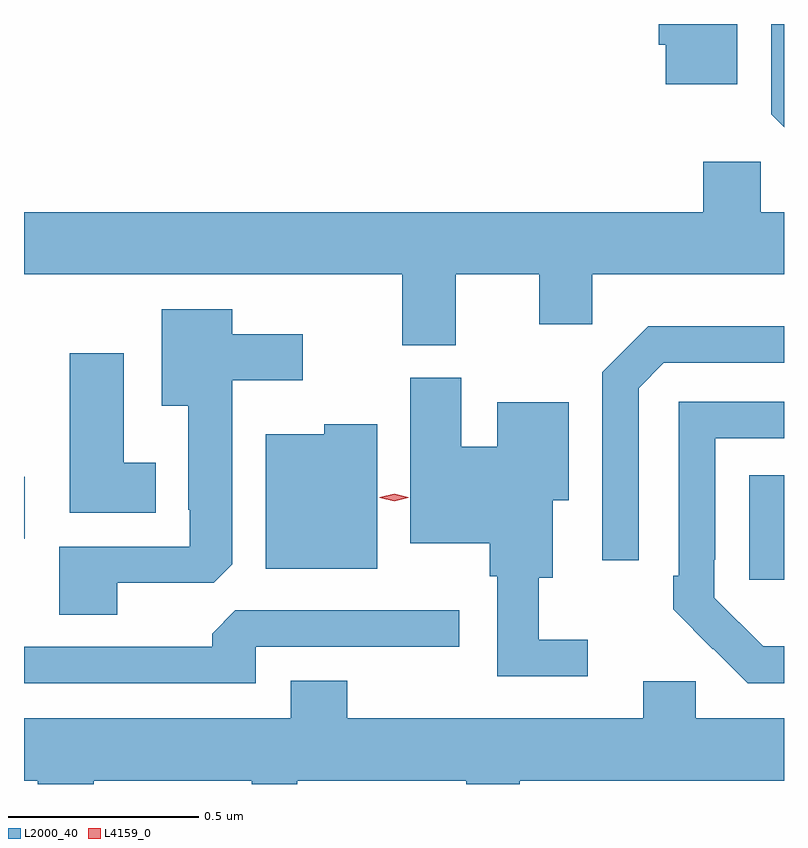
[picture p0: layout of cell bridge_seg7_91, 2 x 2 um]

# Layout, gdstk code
import gdstk
lib = gdstk.Library(unit=1e-6, precision=1e-09)
def R(c, l, rs):  # rectangles x0, y0, x1, y1
    for r in rs: c.add(gdstk.rectangle(r[:2], r[2:], *l))
def P(c, l, *ps):  # polygons
    for p in ps: c.add(gdstk.Polygon(p, *l))
L2000_40 = (2000, 40)
L4159_0 = (4159, 0)

bridge_seg7_91 = lib.new_cell('bridge_seg7_91')
R(bridge_seg7_91, L2000_40, [(1068.005,1011.801,1068.097,1012.075), (1066.097,1011.908,1066.099,1012.071)])
P(bridge_seg7_91, L2000_40, [(1068.097,1013.263),(1068.063,1013.263),(1068.063,1013.025),(1068.097,1012.991)],
  [(1067.974,1013.263),(1067.767,1013.263),(1067.767,1013.209),(1067.786,1013.209),(1067.786,1013.105),(1067.974,1013.105)],
  [(1067.233,1012.604),(1067.453,1012.604),(1067.453,1012.473),(1067.592,1012.473),(1067.592,1012.604),(1068.097,1012.604),(1068.097,1012.768),(1068.036,1012.768),(1068.036,1012.9),(1067.885,1012.9),(1067.885,1012.768),(1066.097,1012.768),(1066.097,1012.604),(1067.093,1012.604),(1067.093,1012.417),(1067.233,1012.417)],
  [(1066.342,1011.792),(1066.596,1011.792),(1066.645,1011.841),(1066.645,1012.325),(1066.831,1012.325),(1066.831,1012.447),(1066.645,1012.447),(1066.645,1012.513),(1066.46,1012.513),(1066.46,1012.259),(1066.529,1012.259),(1066.529,1011.985),(1066.533,1011.985),(1066.533,1011.888),(1066.19,1011.888),(1066.19,1011.709),(1066.342,1011.709)],
  [(1067.715,1012.305),(1067.781,1012.371),(1068.097,1012.371),(1068.097,1012.468),(1067.74,1012.468),(1067.619,1012.347),(1067.619,1011.852),(1067.715,1011.852)],
  [(1066.444,1012.108),(1066.36,1012.108),(1066.36,1012.396),(1066.217,1012.396),(1066.217,1011.977),(1066.444,1011.977)],
  [(1067.581,1011.643),(1067.452,1011.643),(1067.452,1011.806),(1067.488,1011.806),(1067.488,1012.01),(1067.53,1012.01),(1067.53,1012.267),(1067.342,1012.267),(1067.342,1012.15),(1067.248,1012.15),(1067.248,1012.332),(1067.114,1012.332),(1067.114,1011.896),(1067.323,1011.896),(1067.323,1011.81),(1067.343,1011.81),(1067.343,1011.546),(1067.581,1011.546)],
  [(1068.097,1011.625),(1068.042,1011.625),(1067.913,1011.753),(1067.913,1011.853),(1067.916,1011.853),(1067.916,1012.173),(1068.097,1012.173),(1068.097,1012.269),(1067.82,1012.269),(1067.82,1011.811),(1067.805,1011.811),(1067.805,1011.723),(1067.91,1011.618),(1067.911,1011.619),(1068.002,1011.528),(1068.097,1011.528)],
  [(1067.026,1012.21),(1066.887,1012.21),(1066.887,1012.183),(1066.733,1012.183),(1066.733,1011.83),(1067.026,1011.83)],
  [(1066.707,1011.624),(1067.242,1011.624),(1067.242,1011.72),(1066.653,1011.72),(1066.592,1011.658),(1066.592,1011.624),(1066.097,1011.624),(1066.097,1011.528),(1066.707,1011.528)],
  [(1066.281,1011.272),(1066.696,1011.272),(1066.696,1011.263),(1066.816,1011.263),(1066.816,1011.272),(1067.261,1011.272),(1067.261,1011.263),(1067.401,1011.263),(1067.401,1011.272),(1068.097,1011.272),(1068.097,1011.436),(1067.865,1011.436),(1067.865,1011.534),(1067.726,1011.534),(1067.726,1011.436),(1066.947,1011.436),(1066.947,1011.535),(1066.799,1011.535),(1066.799,1011.436),(1066.097,1011.436),(1066.097,1011.272),(1066.133,1011.272),(1066.133,1011.263),(1066.281,1011.263)])
P(bridge_seg7_91, L4159_0, [(1067.071,1012.007),(1067.033,1012.016),(1067.033,1012.017),(1067.033,1012.017),(1067.071,1012.027),(1067.108,1012.017),(1067.108,1012.017),(1067.108,1012.016)])

lib.write_gds('bridge_seg7_91.gds')
